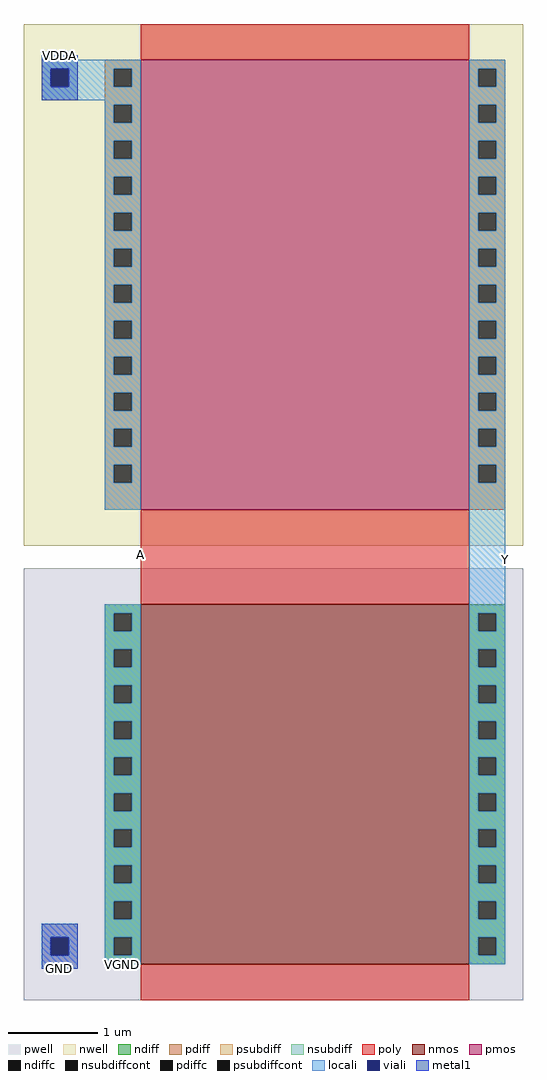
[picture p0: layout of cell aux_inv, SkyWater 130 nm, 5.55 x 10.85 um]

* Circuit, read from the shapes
.subckt aux_inv A Y VGND VDDA GND
XM1 Y A VGND GND sky130_fd_pr__nfet_01v8 w=4 l=3.65
XM2 Y A VDDA VDDA sky130_fd_pr__pfet_01v8 w=5 l=3.65
.ends

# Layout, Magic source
magic
tech sky130A
<< nwell >>
rect -130 -45 425 535
<< pwell >>
rect -130 -550 425 -70
<< nmos >>
rect 0 -510 365 -110
<< pmos >>
rect 0 -5 365 495
<< ndiff >>
rect -40 -120 0 -110
rect -40 -140 -30 -120
rect -10 -140 0 -120
rect -40 -160 0 -140
rect -40 -180 -30 -160
rect -10 -180 0 -160
rect -40 -200 0 -180
rect -40 -220 -30 -200
rect -10 -220 0 -200
rect -40 -240 0 -220
rect -40 -260 -30 -240
rect -10 -260 0 -240
rect -40 -280 0 -260
rect -40 -300 -30 -280
rect -10 -300 0 -280
rect -40 -320 0 -300
rect -40 -340 -30 -320
rect -10 -340 0 -320
rect -40 -360 0 -340
rect -40 -380 -30 -360
rect -10 -380 0 -360
rect -40 -400 0 -380
rect -40 -420 -30 -400
rect -10 -420 0 -400
rect -40 -440 0 -420
rect -40 -460 -30 -440
rect -10 -460 0 -440
rect -40 -480 0 -460
rect -40 -500 -30 -480
rect -10 -500 0 -480
rect -40 -510 0 -500
rect 365 -120 405 -110
rect 365 -140 375 -120
rect 395 -140 405 -120
rect 365 -160 405 -140
rect 365 -180 375 -160
rect 395 -180 405 -160
rect 365 -200 405 -180
rect 365 -220 375 -200
rect 395 -220 405 -200
rect 365 -240 405 -220
rect 365 -260 375 -240
rect 395 -260 405 -240
rect 365 -280 405 -260
rect 365 -300 375 -280
rect 395 -300 405 -280
rect 365 -320 405 -300
rect 365 -340 375 -320
rect 395 -340 405 -320
rect 365 -360 405 -340
rect 365 -380 375 -360
rect 395 -380 405 -360
rect 365 -400 405 -380
rect 365 -420 375 -400
rect 395 -420 405 -400
rect 365 -440 405 -420
rect 365 -460 375 -440
rect 395 -460 405 -440
rect 365 -480 405 -460
rect 365 -500 375 -480
rect 395 -500 405 -480
rect 365 -510 405 -500
<< pdiff >>
rect -40 485 0 495
rect -40 465 -30 485
rect -10 465 0 485
rect -40 445 0 465
rect -40 425 -30 445
rect -10 425 0 445
rect -40 405 0 425
rect -40 385 -30 405
rect -10 385 0 405
rect -40 365 0 385
rect -40 345 -30 365
rect -10 345 0 365
rect -40 325 0 345
rect -40 305 -30 325
rect -10 305 0 325
rect -40 285 0 305
rect -40 265 -30 285
rect -10 265 0 285
rect -40 245 0 265
rect -40 225 -30 245
rect -10 225 0 245
rect -40 205 0 225
rect -40 185 -30 205
rect -10 185 0 205
rect -40 165 0 185
rect -40 145 -30 165
rect -10 145 0 165
rect -40 125 0 145
rect -40 105 -30 125
rect -10 105 0 125
rect -40 85 0 105
rect -40 65 -30 85
rect -10 65 0 85
rect -40 45 0 65
rect -40 25 -30 45
rect -10 25 0 45
rect -40 -5 0 25
rect 365 485 405 495
rect 365 465 375 485
rect 395 465 405 485
rect 365 445 405 465
rect 365 425 375 445
rect 395 425 405 445
rect 365 405 405 425
rect 365 385 375 405
rect 395 385 405 405
rect 365 365 405 385
rect 365 345 375 365
rect 395 345 405 365
rect 365 325 405 345
rect 365 305 375 325
rect 395 305 405 325
rect 365 285 405 305
rect 365 265 375 285
rect 395 265 405 285
rect 365 245 405 265
rect 365 225 375 245
rect 395 225 405 245
rect 365 205 405 225
rect 365 185 375 205
rect 395 185 405 205
rect 365 165 405 185
rect 365 145 375 165
rect 395 145 405 165
rect 365 125 405 145
rect 365 105 375 125
rect 395 105 405 125
rect 365 85 405 105
rect 365 65 375 85
rect 395 65 405 85
rect 365 45 405 65
rect 365 25 375 45
rect 395 25 405 45
rect 365 -5 405 25
<< ndiffc >>
rect -30 -140 -10 -120
rect -30 -180 -10 -160
rect -30 -220 -10 -200
rect -30 -260 -10 -240
rect -30 -300 -10 -280
rect -30 -340 -10 -320
rect -30 -380 -10 -360
rect -30 -420 -10 -400
rect -30 -460 -10 -440
rect -30 -500 -10 -480
rect 375 -140 395 -120
rect 375 -180 395 -160
rect 375 -220 395 -200
rect 375 -260 395 -240
rect 375 -300 395 -280
rect 375 -340 395 -320
rect 375 -380 395 -360
rect 375 -420 395 -400
rect 375 -460 395 -440
rect 375 -500 395 -480
<< pdiffc >>
rect -30 465 -10 485
rect -30 425 -10 445
rect -30 385 -10 405
rect -30 345 -10 365
rect -30 305 -10 325
rect -30 265 -10 285
rect -30 225 -10 245
rect -30 185 -10 205
rect -30 145 -10 165
rect -30 105 -10 125
rect -30 65 -10 85
rect -30 25 -10 45
rect 375 465 395 485
rect 375 425 395 445
rect 375 385 395 405
rect 375 345 395 365
rect 375 305 395 325
rect 375 265 395 285
rect 375 225 395 245
rect 375 185 395 205
rect 375 145 395 165
rect 375 105 395 125
rect 375 65 395 85
rect 375 25 395 45
<< psubdiff >>
rect -110 -480 -70 -465
rect -110 -500 -100 -480
rect -80 -500 -70 -480
rect -110 -515 -70 -500
<< nsubdiff >>
rect -110 485 -70 500
rect -110 465 -100 485
rect -80 465 -70 485
rect -110 450 -70 465
<< psubdiffcont >>
rect -100 -500 -80 -480
<< nsubdiffcont >>
rect -100 465 -80 485
<< poly >>
rect 0 495 365 535
rect 0 -110 365 -5
rect 0 -550 365 -510
<< locali >>
rect -110 495 -70 500
rect -110 485 0 495
rect -110 465 -100 485
rect -80 465 -30 485
rect -10 465 0 485
rect -110 450 0 465
rect -40 445 0 450
rect -40 425 -30 445
rect -10 425 0 445
rect -40 405 0 425
rect -40 385 -30 405
rect -10 385 0 405
rect -40 365 0 385
rect -40 345 -30 365
rect -10 345 0 365
rect -40 325 0 345
rect -40 305 -30 325
rect -10 305 0 325
rect -40 285 0 305
rect -40 265 -30 285
rect -10 265 0 285
rect -40 245 0 265
rect -40 225 -30 245
rect -10 225 0 245
rect -40 205 0 225
rect -40 185 -30 205
rect -10 185 0 205
rect -40 165 0 185
rect -40 145 -30 165
rect -10 145 0 165
rect -40 125 0 145
rect -40 105 -30 125
rect -10 105 0 125
rect -40 85 0 105
rect -40 65 -30 85
rect -10 65 0 85
rect -40 45 0 65
rect -40 25 -30 45
rect -10 25 0 45
rect -40 -5 0 25
rect 365 485 405 495
rect 365 465 375 485
rect 395 465 405 485
rect 365 445 405 465
rect 365 425 375 445
rect 395 425 405 445
rect 365 405 405 425
rect 365 385 375 405
rect 395 385 405 405
rect 365 365 405 385
rect 365 345 375 365
rect 395 345 405 365
rect 365 325 405 345
rect 365 305 375 325
rect 395 305 405 325
rect 365 285 405 305
rect 365 265 375 285
rect 395 265 405 285
rect 365 245 405 265
rect 365 225 375 245
rect 395 225 405 245
rect 365 205 405 225
rect 365 185 375 205
rect 395 185 405 205
rect 365 165 405 185
rect 365 145 375 165
rect 395 145 405 165
rect 365 125 405 145
rect 365 105 375 125
rect 395 105 405 125
rect 365 85 405 105
rect 365 65 375 85
rect 395 65 405 85
rect 365 45 405 65
rect 365 25 375 45
rect 395 25 405 45
rect -40 -120 0 -110
rect -40 -140 -30 -120
rect -10 -140 0 -120
rect -40 -160 0 -140
rect -40 -180 -30 -160
rect -10 -180 0 -160
rect -40 -200 0 -180
rect -40 -220 -30 -200
rect -10 -220 0 -200
rect -40 -240 0 -220
rect -40 -260 -30 -240
rect -10 -260 0 -240
rect -40 -280 0 -260
rect -40 -300 -30 -280
rect -10 -300 0 -280
rect -40 -320 0 -300
rect -40 -340 -30 -320
rect -10 -340 0 -320
rect -40 -360 0 -340
rect -40 -380 -30 -360
rect -10 -380 0 -360
rect -40 -400 0 -380
rect -40 -420 -30 -400
rect -10 -420 0 -400
rect -40 -440 0 -420
rect -40 -460 -30 -440
rect -10 -460 0 -440
rect -110 -480 -70 -465
rect -110 -500 -100 -480
rect -80 -500 -70 -480
rect -110 -515 -70 -500
rect -40 -480 0 -460
rect -40 -500 -30 -480
rect -10 -500 0 -480
rect -40 -510 0 -500
rect 365 -120 405 25
rect 365 -140 375 -120
rect 395 -140 405 -120
rect 365 -160 405 -140
rect 365 -180 375 -160
rect 395 -180 405 -160
rect 365 -200 405 -180
rect 365 -220 375 -200
rect 395 -220 405 -200
rect 365 -240 405 -220
rect 365 -260 375 -240
rect 395 -260 405 -240
rect 365 -280 405 -260
rect 365 -300 375 -280
rect 395 -300 405 -280
rect 365 -320 405 -300
rect 365 -340 375 -320
rect 395 -340 405 -320
rect 365 -360 405 -340
rect 365 -380 375 -360
rect 395 -380 405 -360
rect 365 -400 405 -380
rect 365 -420 375 -400
rect 395 -420 405 -400
rect 365 -440 405 -420
rect 365 -460 375 -440
rect 395 -460 405 -440
rect 365 -480 405 -460
rect 365 -500 375 -480
rect 395 -500 405 -480
rect 365 -510 405 -500
<< viali >>
rect -100 465 -80 485
rect -100 -500 -80 -480
<< metal1 >>
rect -110 485 -70 500
rect -110 465 -100 485
rect -80 465 -70 485
rect -110 450 -70 465
rect -110 -480 -70 -465
rect -110 -500 -100 -480
rect -80 -500 -70 -480
rect -110 -515 -70 -500
<< labels >>
rlabel poly 0 -55 0 -55 7 A
port 1 w
rlabel locali 405 -60 405 -60 3 Y
port 2 e
rlabel locali -20 -510 -20 -510 5 VGND
port 3 s
rlabel metal1 -90 500 -90 500 1 VDDA
port 4 n
rlabel metal1 -90 -515 -90 -515 5 GND
port 5 s
<< end >>
